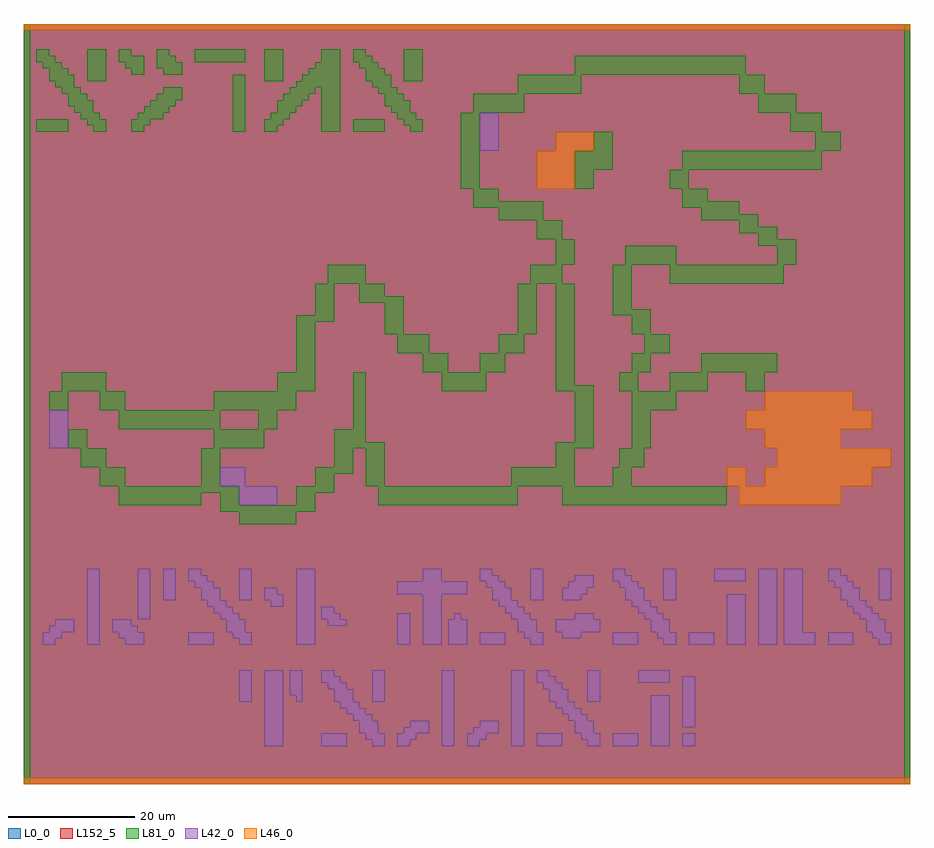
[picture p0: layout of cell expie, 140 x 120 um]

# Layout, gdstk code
import gdstk
lib = gdstk.Library(unit=1e-6, precision=1e-09)
def R(c, l, rs):  # rectangles x0, y0, x1, y1
    for r in rs: c.add(gdstk.rectangle(r[:2], r[2:], *l))
def A(c, l, x, y, w, h, nx, ny, dx, dy):  # array of equal rectangles
    R(c, l, [(x+i*dx, y+j*dy, x+i*dx+w, y+j*dy+h) for i in range(nx) for j in range(ny)])
L0_0 = (0, 0)
L42_0 = (42, 0)
L46_0 = (46, 0)
L81_0 = (81, 0)
L152_5 = (152, 5)

expie = lib.new_cell('expie')
R(expie, L0_0, [(0,0,140,120), (0,0,140,120), (0,0,140,120)])
A(expie, L42_0, 38, 6, 1, 1, 3, 12, 1, 1)
A(expie, L42_0, 47, 6, 1, 1, 4, 2, 1, 1)
A(expie, L42_0, 66, 6, 1, 1, 1, 12, 0, 1)
A(expie, L42_0, 67, 6, 1, 1, 1, 12, 0, 1)
A(expie, L42_0, 77, 6, 1, 1, 1, 12, 0, 1)
A(expie, L42_0, 78, 6, 1, 1, 1, 12, 0, 1)
A(expie, L42_0, 81, 6, 1, 1, 4, 2, 1, 1)
A(expie, L42_0, 93, 6, 1, 1, 4, 2, 1, 1)
A(expie, L42_0, 99, 6, 1, 1, 3, 8, 1, 1)
A(expie, L42_0, 54, 7, 1, 1, 3, 1, 1, 0)
A(expie, L42_0, 59, 7, 1, 1, 3, 1, 1, 0)
A(expie, L42_0, 70, 7, 1, 1, 3, 1, 1, 0)
A(expie, L42_0, 88, 7, 1, 1, 3, 1, 1, 0)
A(expie, L42_0, 53, 8, 1, 1, 3, 2, 1, 1)
A(expie, L42_0, 60, 8, 1, 1, 4, 1, 1, 0)
A(expie, L42_0, 71, 8, 1, 1, 4, 1, 1, 0)
A(expie, L42_0, 87, 8, 1, 1, 3, 2, 1, 1)
A(expie, L42_0, 61, 9, 1, 1, 3, 1, 1, 0)
A(expie, L42_0, 72, 9, 1, 1, 3, 2, 1, 23)
A(expie, L42_0, 104, 9, 1, 1, 1, 8, 0, 1)
A(expie, L42_0, 105, 9, 1, 1, 1, 8, 0, 1)
A(expie, L42_0, 52, 10, 1, 1, 3, 1, 1, 0)
A(expie, L42_0, 86, 10, 1, 1, 3, 1, 1, 0)
A(expie, L42_0, 51, 11, 1, 1, 3, 1, 1, 0)
A(expie, L42_0, 85, 11, 1, 1, 3, 2, 1, 12)
A(expie, L42_0, 50, 12, 1, 1, 3, 1, 1, 0)
A(expie, L42_0, 84, 12, 1, 1, 3, 1, 1, 0)
A(expie, L42_0, 34, 13, 1, 1, 1, 5, 0, 1)
A(expie, L42_0, 35, 13, 1, 1, 1, 5, 0, 1)
A(expie, L42_0, 43, 13, 1, 1, 1, 5, 0, 1)
A(expie, L42_0, 49, 13, 1, 1, 3, 2, 1, 1)
A(expie, L42_0, 55, 13, 1, 1, 1, 5, 0, 1)
A(expie, L42_0, 56, 13, 1, 1, 1, 5, 0, 1)
A(expie, L42_0, 83, 13, 1, 1, 3, 2, 1, 1)
A(expie, L42_0, 89, 13, 1, 1, 1, 5, 0, 1)
A(expie, L42_0, 90, 13, 1, 1, 1, 5, 0, 1)
A(expie, L42_0, 42, 14, 1, 1, 1, 4, 0, 1)
A(expie, L42_0, 48, 15, 1, 1, 3, 2, 1, 10)
A(expie, L42_0, 82, 15, 1, 1, 3, 1, 1, 0)
A(expie, L42_0, 47, 16, 1, 1, 3, 2, 1, 10)
A(expie, L42_0, 81, 16, 1, 1, 3, 1, 1, 0)
A(expie, L42_0, 97, 16, 1, 1, 5, 2, 1, 1)
A(expie, L42_0, 10, 22, 1, 1, 1, 12, 0, 1)
A(expie, L42_0, 11, 22, 1, 1, 1, 12, 0, 1)
A(expie, L42_0, 16, 22, 1, 1, 3, 1, 1, 0)
A(expie, L42_0, 26, 22, 1, 1, 4, 2, 1, 1)
A(expie, L42_0, 43, 22, 1, 1, 3, 12, 1, 1)
A(expie, L42_0, 59, 22, 1, 1, 1, 5, 0, 1)
A(expie, L42_0, 60, 22, 1, 1, 1, 5, 0, 1)
A(expie, L42_0, 63, 22, 1, 1, 3, 8, 1, 1)
A(expie, L42_0, 67, 22, 1, 1, 3, 4, 1, 1)
A(expie, L42_0, 72, 22, 1, 1, 4, 2, 1, 1)
A(expie, L42_0, 93, 22, 1, 1, 4, 2, 1, 1)
A(expie, L42_0, 105, 22, 1, 1, 4, 2, 1, 1)
A(expie, L42_0, 111, 22, 1, 1, 3, 8, 1, 1)
A(expie, L42_0, 116, 22, 1, 1, 3, 12, 1, 1)
A(expie, L42_0, 120, 22, 1, 1, 5, 2, 1, 1)
A(expie, L42_0, 127, 22, 1, 1, 4, 2, 1, 1)
A(expie, L42_0, 3, 23, 1, 1, 3, 1, 1, 0)
A(expie, L42_0, 15, 23, 1, 1, 4, 1, 1, 0)
A(expie, L42_0, 33, 23, 1, 1, 3, 1, 1, 0)
A(expie, L42_0, 79, 23, 1, 1, 3, 1, 1, 0)
A(expie, L42_0, 100, 23, 1, 1, 3, 1, 1, 0)
A(expie, L42_0, 134, 23, 1, 1, 3, 1, 1, 0)
A(expie, L42_0, 4, 24, 1, 1, 4, 1, 1, 0)
A(expie, L42_0, 14, 24, 1, 1, 4, 1, 1, 0)
A(expie, L42_0, 32, 24, 1, 1, 3, 2, 1, 1)
A(expie, L42_0, 78, 24, 1, 1, 3, 2, 1, 1)
A(expie, L42_0, 84, 24, 1, 1, 7, 2, 1, 1)
A(expie, L42_0, 99, 24, 1, 1, 3, 2, 1, 1)
A(expie, L42_0, 120, 24, 1, 1, 3, 10, 1, 1)
A(expie, L42_0, 133, 24, 1, 1, 3, 2, 1, 1)
A(expie, L42_0, 5, 25, 1, 1, 3, 1, 1, 0)
A(expie, L42_0, 14, 25, 1, 1, 3, 1, 1, 0)
A(expie, L42_0, 18, 26, 1, 1, 1, 8, 0, 1)
A(expie, L42_0, 19, 26, 1, 1, 1, 8, 0, 1)
A(expie, L42_0, 31, 26, 1, 1, 3, 1, 1, 0)
A(expie, L42_0, 77, 26, 1, 1, 3, 1, 1, 0)
A(expie, L42_0, 87, 26, 1, 1, 3, 2, 1, 6)
A(expie, L42_0, 98, 26, 1, 1, 3, 1, 1, 0)
A(expie, L42_0, 132, 26, 1, 1, 3, 1, 1, 0)
A(expie, L42_0, 30, 27, 1, 1, 3, 1, 1, 0)
A(expie, L42_0, 76, 27, 1, 1, 3, 1, 1, 0)
A(expie, L42_0, 97, 27, 1, 1, 3, 1, 1, 0)
A(expie, L42_0, 131, 27, 1, 1, 3, 1, 1, 0)
A(expie, L42_0, 29, 28, 1, 1, 3, 1, 1, 0)
A(expie, L42_0, 75, 28, 1, 1, 3, 1, 1, 0)
A(expie, L42_0, 96, 28, 1, 1, 3, 1, 1, 0)
A(expie, L42_0, 130, 28, 1, 1, 3, 1, 1, 0)
A(expie, L42_0, 22, 29, 1, 1, 1, 5, 0, 1)
A(expie, L42_0, 23, 29, 1, 1, 1, 5, 0, 1)
A(expie, L42_0, 28, 29, 1, 1, 3, 2, 1, 1)
A(expie, L42_0, 34, 29, 1, 1, 1, 5, 0, 1)
A(expie, L42_0, 35, 29, 1, 1, 1, 5, 0, 1)
A(expie, L42_0, 38, 29, 1, 1, 3, 1, 1, 0)
A(expie, L42_0, 74, 29, 1, 1, 3, 2, 1, 1)
A(expie, L42_0, 80, 29, 1, 1, 1, 5, 0, 1)
A(expie, L42_0, 81, 29, 1, 1, 1, 5, 0, 1)
A(expie, L42_0, 85, 29, 1, 1, 3, 1, 1, 0)
A(expie, L42_0, 95, 29, 1, 1, 3, 2, 1, 1)
A(expie, L42_0, 101, 29, 1, 1, 1, 5, 0, 1)
A(expie, L42_0, 102, 29, 1, 1, 1, 5, 0, 1)
A(expie, L42_0, 129, 29, 1, 1, 3, 2, 1, 1)
A(expie, L42_0, 135, 29, 1, 1, 1, 5, 0, 1)
A(expie, L42_0, 136, 29, 1, 1, 1, 5, 0, 1)
A(expie, L42_0, 59, 30, 1, 1, 11, 2, 1, 1)
A(expie, L42_0, 85, 30, 1, 1, 4, 1, 1, 0)
A(expie, L42_0, 27, 31, 1, 1, 3, 1, 1, 0)
A(expie, L42_0, 73, 31, 1, 1, 3, 1, 1, 0)
A(expie, L42_0, 86, 31, 1, 1, 4, 1, 1, 0)
A(expie, L42_0, 94, 31, 1, 1, 3, 1, 1, 0)
A(expie, L42_0, 128, 31, 1, 1, 3, 1, 1, 0)
A(expie, L42_0, 26, 32, 1, 1, 3, 1, 1, 0)
A(expie, L42_0, 63, 32, 1, 1, 3, 2, 1, 1)
A(expie, L42_0, 93, 32, 1, 1, 3, 1, 1, 0)
A(expie, L42_0, 109, 32, 1, 1, 5, 2, 1, 1)
A(expie, L42_0, 127, 32, 1, 1, 3, 1, 1, 0)
A(expie, L42_0, 34, 44, 1, 1, 6, 3, 1, 1)
A(expie, L42_0, 31, 47, 1, 1, 4, 3, 1, 1)
A(expie, L42_0, 4, 53, 1, 1, 3, 6, 1, 1)
A(expie, L42_0, 72, 100, 1, 1, 3, 6, 1, 1)
R(expie, L42_0, [(55,6,56,7), (56,6,57,7), (59,6,60,7), (60,6,61,7), (70,6,71,7), (71,6,72,7), (89,6,90,7), (90,6,91,7), (104,6,105,7), (105,6,106,7), (104,7,105,8), (105,7,106,8), (47,17,48,18), (48,17,49,18), (81,17,82,18), (82,17,83,18), (3,22,4,23), (4,22,5,23), (34,22,35,23), (35,22,36,23), (80,22,81,23), (81,22,82,23), (101,22,102,23), (102,22,103,23), (135,22,136,23), (136,22,137,23), (68,26,69,27), (47,27,48,28), (48,27,49,28), (39,28,40,29), (40,28,41,29), (38,30,39,31), (39,30,40,31), (26,33,27,34), (27,33,28,34), (72,33,73,34), (73,33,74,34), (93,33,94,34), (94,33,95,34), (127,33,128,34), (128,33,129,34)])
A(expie, L46_0, 0, 0, 1, 1, 140, 2, 1, 119)
A(expie, L46_0, 113, 44, 1, 1, 16, 3, 1, 1)
A(expie, L46_0, 111, 47, 1, 1, 3, 3, 1, 1)
A(expie, L46_0, 117, 47, 1, 1, 17, 3, 1, 1)
A(expie, L46_0, 119, 50, 1, 1, 18, 3, 1, 1)
A(expie, L46_0, 117, 53, 1, 1, 12, 3, 1, 1)
A(expie, L46_0, 114, 56, 1, 1, 20, 3, 1, 1)
A(expie, L46_0, 117, 59, 1, 1, 14, 3, 1, 1)
A(expie, L46_0, 81, 94, 1, 1, 6, 6, 1, 1)
A(expie, L46_0, 84, 100, 1, 1, 6, 3, 1, 1)
A(expie, L81_0, 0, 0, 1, 1, 1, 120, 0, 1)
A(expie, L81_0, 139, 0, 1, 1, 1, 120, 0, 1)
A(expie, L81_0, 34, 41, 1, 1, 9, 2, 1, 1)
A(expie, L81_0, 31, 43, 1, 1, 15, 1, 1, 0)
A(expie, L81_0, 15, 44, 1, 1, 13, 2, 1, 1)
A(expie, L81_0, 31, 44, 1, 1, 3, 2, 1, 1)
A(expie, L81_0, 43, 44, 1, 1, 3, 2, 1, 1)
A(expie, L81_0, 56, 44, 1, 1, 22, 3, 1, 1)
A(expie, L81_0, 85, 44, 1, 1, 26, 3, 1, 1)
A(expie, L81_0, 15, 46, 1, 1, 19, 1, 1, 0)
A(expie, L81_0, 43, 46, 1, 1, 6, 2, 1, 27)
A(expie, L81_0, 12, 47, 1, 1, 4, 3, 1, 1)
A(expie, L81_0, 28, 47, 1, 1, 3, 6, 1, 1)
A(expie, L81_0, 46, 47, 1, 1, 3, 2, 1, 1)
A(expie, L81_0, 54, 47, 1, 1, 3, 6, 1, 1)
A(expie, L81_0, 77, 47, 1, 1, 10, 3, 1, 1)
A(expie, L81_0, 93, 47, 1, 1, 3, 3, 1, 1)
A(expie, L81_0, 46, 49, 1, 1, 6, 1, 1, 0)
A(expie, L81_0, 9, 50, 1, 1, 4, 3, 1, 1)
A(expie, L81_0, 49, 50, 1, 1, 3, 3, 1, 1)
A(expie, L81_0, 84, 50, 1, 1, 3, 3, 1, 1)
A(expie, L81_0, 94, 50, 1, 1, 4, 3, 1, 1)
A(expie, L81_0, 7, 53, 1, 1, 3, 3, 1, 1)
A(expie, L81_0, 30, 53, 1, 1, 8, 3, 1, 1)
A(expie, L81_0, 49, 53, 1, 1, 8, 1, 1, 0)
A(expie, L81_0, 84, 53, 1, 1, 6, 2, 1, 9)
A(expie, L81_0, 96, 53, 1, 1, 3, 6, 1, 1)
A(expie, L81_0, 49, 54, 1, 1, 5, 2, 1, 1)
A(expie, L81_0, 87, 54, 1, 1, 3, 8, 1, 1)
A(expie, L81_0, 15, 56, 1, 1, 16, 3, 1, 1)
A(expie, L81_0, 37, 56, 1, 1, 3, 3, 1, 1)
A(expie, L81_0, 52, 56, 1, 1, 1, 9, 0, 1)
A(expie, L81_0, 53, 56, 1, 1, 1, 9, 0, 1)
A(expie, L81_0, 4, 59, 1, 1, 3, 3, 1, 1)
A(expie, L81_0, 12, 59, 1, 1, 4, 3, 1, 1)
A(expie, L81_0, 30, 59, 1, 1, 13, 3, 1, 1)
A(expie, L81_0, 96, 59, 1, 1, 7, 3, 1, 1)
A(expie, L81_0, 6, 62, 1, 1, 7, 3, 1, 1)
A(expie, L81_0, 40, 62, 1, 1, 6, 3, 1, 1)
A(expie, L81_0, 66, 62, 1, 1, 7, 3, 1, 1)
A(expie, L81_0, 94, 62, 1, 1, 3, 3, 1, 1)
A(expie, L81_0, 102, 62, 1, 1, 6, 3, 1, 1)
A(expie, L81_0, 114, 62, 1, 1, 3, 3, 1, 1)
A(expie, L81_0, 84, 63, 1, 1, 3, 16, 1, 1)
A(expie, L81_0, 43, 65, 1, 1, 3, 8, 1, 1)
A(expie, L81_0, 63, 65, 1, 1, 4, 3, 1, 1)
A(expie, L81_0, 72, 65, 1, 1, 4, 3, 1, 1)
A(expie, L81_0, 96, 65, 1, 1, 3, 3, 1, 1)
A(expie, L81_0, 107, 65, 1, 1, 12, 3, 1, 1)
A(expie, L81_0, 59, 68, 1, 1, 5, 3, 1, 1)
A(expie, L81_0, 75, 68, 1, 1, 4, 3, 1, 1)
A(expie, L81_0, 98, 68, 1, 1, 4, 3, 1, 1)
A(expie, L81_0, 57, 71, 1, 1, 3, 5, 1, 1)
A(expie, L81_0, 78, 71, 1, 1, 3, 8, 1, 1)
A(expie, L81_0, 96, 71, 1, 1, 3, 3, 1, 1)
A(expie, L81_0, 46, 74, 1, 1, 3, 5, 1, 1)
A(expie, L81_0, 93, 74, 1, 1, 6, 1, 1, 0)
A(expie, L81_0, 93, 75, 1, 1, 3, 7, 1, 1)
A(expie, L81_0, 53, 76, 1, 1, 7, 1, 1, 0)
A(expie, L81_0, 53, 77, 1, 1, 4, 2, 1, 1)
A(expie, L81_0, 48, 79, 1, 1, 6, 3, 1, 1)
A(expie, L81_0, 80, 79, 1, 1, 5, 3, 1, 1)
A(expie, L81_0, 102, 79, 1, 1, 18, 3, 1, 1)
A(expie, L81_0, 84, 82, 1, 1, 3, 4, 1, 1)
A(expie, L81_0, 95, 82, 1, 1, 8, 3, 1, 1)
A(expie, L81_0, 119, 82, 1, 1, 3, 3, 1, 1)
A(expie, L81_0, 116, 85, 1, 1, 6, 2, 1, 21)
A(expie, L81_0, 81, 86, 1, 1, 4, 3, 1, 1)
A(expie, L81_0, 116, 86, 1, 1, 3, 1, 1, 0)
A(expie, L81_0, 113, 87, 1, 1, 6, 1, 1, 0)
A(expie, L81_0, 113, 88, 1, 1, 3, 1, 1, 0)
A(expie, L81_0, 75, 89, 1, 1, 7, 2, 1, 1)
A(expie, L81_0, 107, 89, 1, 1, 9, 1, 1, 0)
A(expie, L81_0, 107, 90, 1, 1, 6, 1, 1, 0)
A(expie, L81_0, 71, 91, 1, 1, 11, 1, 1, 0)
A(expie, L81_0, 104, 91, 1, 1, 9, 1, 1, 0)
A(expie, L81_0, 71, 92, 1, 1, 4, 2, 1, 1)
A(expie, L81_0, 104, 92, 1, 1, 4, 2, 1, 1)
A(expie, L81_0, 69, 94, 1, 1, 3, 12, 1, 1)
A(expie, L81_0, 87, 94, 1, 1, 3, 3, 1, 1)
A(expie, L81_0, 102, 94, 1, 1, 3, 3, 1, 1)
A(expie, L81_0, 87, 97, 1, 1, 6, 3, 1, 1)
A(expie, L81_0, 104, 97, 1, 1, 22, 3, 1, 1)
A(expie, L81_0, 90, 100, 1, 1, 3, 3, 1, 1)
A(expie, L81_0, 125, 100, 1, 1, 4, 3, 1, 1)
A(expie, L81_0, 2, 103, 1, 1, 5, 2, 1, 1)
A(expie, L81_0, 33, 103, 1, 1, 1, 9, 0, 1)
A(expie, L81_0, 34, 103, 1, 1, 1, 9, 0, 1)
A(expie, L81_0, 47, 103, 1, 1, 3, 7, 1, 1)
A(expie, L81_0, 52, 103, 1, 1, 5, 2, 1, 1)
A(expie, L81_0, 121, 103, 1, 1, 5, 3, 1, 1)
A(expie, L81_0, 10, 104, 1, 1, 3, 2, 1, 7)
A(expie, L81_0, 17, 104, 1, 1, 3, 1, 1, 0)
A(expie, L81_0, 38, 104, 1, 1, 3, 2, 1, 7)
A(expie, L81_0, 60, 104, 1, 1, 3, 2, 1, 7)
A(expie, L81_0, 9, 105, 1, 1, 3, 1, 1, 0)
A(expie, L81_0, 18, 105, 1, 1, 4, 1, 1, 0)
A(expie, L81_0, 39, 105, 1, 1, 3, 1, 1, 0)
A(expie, L81_0, 59, 105, 1, 1, 3, 1, 1, 0)
A(expie, L81_0, 8, 106, 1, 1, 3, 1, 1, 0)
A(expie, L81_0, 19, 106, 1, 1, 4, 1, 1, 0)
A(expie, L81_0, 40, 106, 1, 1, 3, 1, 1, 0)
A(expie, L81_0, 58, 106, 1, 1, 3, 1, 1, 0)
A(expie, L81_0, 71, 106, 1, 1, 8, 3, 1, 1)
A(expie, L81_0, 7, 107, 1, 1, 4, 1, 1, 0)
A(expie, L81_0, 20, 107, 1, 1, 4, 1, 1, 0)
A(expie, L81_0, 40, 107, 1, 1, 4, 1, 1, 0)
A(expie, L81_0, 57, 107, 1, 1, 4, 1, 1, 0)
A(expie, L81_0, 116, 107, 1, 1, 6, 2, 1, 1)
A(expie, L81_0, 7, 108, 1, 1, 3, 1, 1, 0)
A(expie, L81_0, 21, 108, 1, 1, 4, 2, 1, 5)
A(expie, L81_0, 41, 108, 1, 1, 4, 1, 1, 0)
A(expie, L81_0, 57, 108, 1, 1, 3, 1, 1, 0)
A(expie, L81_0, 6, 109, 1, 1, 3, 1, 1, 0)
A(expie, L81_0, 22, 109, 1, 1, 3, 2, 1, 3)
A(expie, L81_0, 42, 109, 1, 1, 4, 1, 1, 0)
A(expie, L81_0, 56, 109, 1, 1, 3, 1, 1, 0)
A(expie, L81_0, 78, 109, 1, 1, 10, 3, 1, 1)
A(expie, L81_0, 113, 109, 1, 1, 4, 3, 1, 1)
A(expie, L81_0, 5, 110, 1, 1, 3, 1, 1, 0)
A(expie, L81_0, 43, 110, 1, 1, 7, 1, 1, 0)
A(expie, L81_0, 55, 110, 1, 1, 3, 1, 1, 0)
A(expie, L81_0, 4, 111, 1, 1, 4, 1, 1, 0)
A(expie, L81_0, 44, 111, 1, 1, 6, 1, 1, 0)
A(expie, L81_0, 54, 111, 1, 1, 4, 1, 1, 0)
A(expie, L81_0, 4, 112, 1, 1, 3, 1, 1, 0)
A(expie, L81_0, 10, 112, 1, 1, 3, 4, 1, 1)
A(expie, L81_0, 38, 112, 1, 1, 3, 4, 1, 1)
A(expie, L81_0, 45, 112, 1, 1, 5, 1, 1, 0)
A(expie, L81_0, 54, 112, 1, 1, 3, 1, 1, 0)
A(expie, L81_0, 60, 112, 1, 1, 3, 4, 1, 1)
A(expie, L81_0, 87, 112, 1, 1, 27, 3, 1, 1)
A(expie, L81_0, 3, 113, 1, 1, 3, 1, 1, 0)
A(expie, L81_0, 16, 113, 1, 1, 3, 1, 1, 0)
A(expie, L81_0, 46, 113, 1, 1, 4, 1, 1, 0)
A(expie, L81_0, 53, 113, 1, 1, 3, 1, 1, 0)
A(expie, L81_0, 2, 114, 1, 1, 3, 1, 1, 0)
A(expie, L81_0, 15, 114, 1, 1, 4, 1, 1, 0)
A(expie, L81_0, 21, 114, 1, 1, 3, 1, 1, 0)
A(expie, L81_0, 27, 114, 1, 1, 8, 2, 1, 1)
A(expie, L81_0, 47, 114, 1, 1, 3, 2, 1, 1)
A(expie, L81_0, 52, 114, 1, 1, 3, 1, 1, 0)
R(expie, L81_0, [(11,103,12,104), (12,103,13,104), (17,103,18,104), (18,103,19,104), (38,103,39,104), (39,103,40,104), (61,103,62,104), (62,103,63,104), (17,112,18,113), (18,112,19,113), (2,115,3,116), (3,115,4,116), (15,115,16,116), (16,115,17,116), (21,115,22,116), (22,115,23,116), (52,115,53,116), (53,115,54,116)])
R(expie, L152_5, [(0,0,140,120), (0,0,140,120), (0,0,140,120)])

lib.write_gds('expie.gds')
